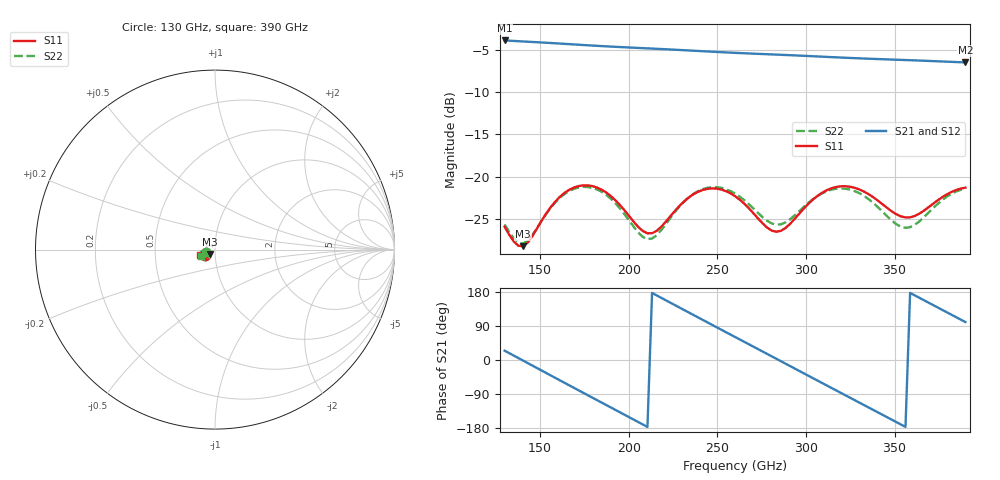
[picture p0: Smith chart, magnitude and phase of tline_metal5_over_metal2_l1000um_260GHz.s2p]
#  GHZ S DB R 50
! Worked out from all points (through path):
!   101 points, 130 GHz to 390 GHz, reference 50 ohm
!   highest |S21| = -3.93 dB at 130 GHz (marker M1); lowest = -6.5 dB at 390 GHz (marker M2)
!   group delay of S21, straight-line fit = 6.88 ps
!   lowest |S11| = -28.2 dB at 140.4 GHz (marker M3), VSWR 1.08, Z = 47 - j2.3 ohm
!   |S11| at or under -10 dB: start of sweep to end of sweep
!   |S22| runs from -27.8 to -21.2 dB; largest |S21 - S12| = 1.1e-13
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130  -25.87 -165.1  -3.93 24.6  -3.93 24.6  -25.60 -165.5
140.4  -28.16 -141.4  -4.04 -1.5  -4.04 -1.5  -27.84 -144.0
158.6  -22.90 -126.5  -4.26 -47.1  -4.26 -47.1  -23.00 -129.1
174.2  -21.00 -146.4  -4.46 -86.1  -4.46 -86.1  -21.17 -148.5
184.6  -21.49 -160.3  -4.59 -112.0  -4.59 -112.0  -21.74 -162.4
197.6  -23.92 -170.2  -4.73 -144.3  -4.73 -144.3  -24.38 -172.0
210.6  -26.64 -156.1  -4.86 -176.6  -4.86 -176.6  -27.33 -154.8
218.4  -25.87 -141.6  -4.94 164.0  -4.94 164.0  -26.27 -138.3
239.2  -21.75 -145.9  -5.16 112.3  -5.16 112.3  -21.68 -143.4
249.6  -21.38 -157.8  -5.28 86.5  -5.28 86.5  -21.21 -155.5
260  -22.26 -168.5  -5.39 60.8  -5.39 60.8  -21.95 -166.3
273  -24.89 -171.6  -5.50 28.7  -5.50 28.7  -24.25 -170.2
283.4  -26.46 -156.5  -5.59 3.0  -5.59 3.0  -25.63 -158.7
293.8  -24.91 -141.0  -5.69 -22.7  -5.69 -22.7  -24.51 -146.0
304.2  -22.63 -141.3  -5.79 -48.5  -5.79 -48.5  -22.59 -146.2
314.6  -21.33 -149.9  -5.89 -74.1  -5.89 -74.1  -21.49 -154.4
325  -21.16 -160.6  -5.99 -99.7  -5.99 -99.7  -21.50 -164.9
348.4  -24.05 -169.3  -6.18 -157.3  -6.18 -157.3  -25.14 -171.6
356.2  -24.78 -161.6  -6.23 -176.6  -6.23 -176.6  -26.00 -160.4
366.6  -23.98 -151.0  -6.32 157.8  -6.32 157.8  -24.74 -146.4
379.6  -22.05 -151.6  -6.43 125.7  -6.43 125.7  -22.32 -147.2
390  -21.27 -159.3  -6.51 100.2  -6.51 100.2  -21.38 -155.6
